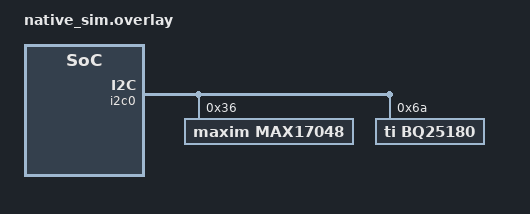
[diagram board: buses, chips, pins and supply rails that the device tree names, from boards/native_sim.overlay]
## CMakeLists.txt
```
cmake_minimum_required(VERSION 3.20.0)

find_package(Zephyr REQUIRED HINTS $ENV{ZEPHYR_BASE})
project(drivers_battery)

target_sources(app PRIVATE src/main.c src/emul_bq25180.c)
```

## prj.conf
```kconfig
CONFIG_ZTEST=y
CONFIG_I2C=y
CONFIG_EMUL=y
CONFIG_FUEL_GAUGE=y
CONFIG_EMUL_MAX17048=y
CONFIG_CHARGER=y
CONFIG_WX_DRV_BATTERY=y
```

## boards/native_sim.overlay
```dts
/* The board's fuel gauge and charger on native_sim's emulated I2C bus. */
&i2c0 {
	max17048: max17048@36 {
		compatible = "maxim,max17048";
		reg = <0x36>;
		status = "okay";
	};

	bq25180: bq25180@6a {
		compatible = "ti,bq25180";
		reg = <0x6a>;
		constant-charge-current-max-microamp = <500000>;
		status = "okay";
	};
};
```

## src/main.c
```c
/*
 * drivers/battery_zephyr.c against Zephyr's MAX17048 emulator and our
 * BQ25180 emulator on native_sim's emulated I2C bus.
 *
 * Zephyr's MAX17048 emulator holds fixed charge and voltage registers and
 * writes its words little-endian, while the chip (and the driver) are
 * big-endian, so the driver reads its SOC 0x3525 as 0x2535 (37 %) and its
 * VCELL 0x4387 as 0x8743 (2,705 mV). The tests pin those, and swap the
 * charge rate they set so the driver reads the value meant.
 */

#include <zephyr/sys/byteorder.h>
#include <zephyr/ztest.h>

#include "emul_bq25180.h"
#include "hal/battery.h"

/* From drivers/fuel_gauge/max17048/emul_max17048.c (no header). */
void emul_max17048_set_crate_status(int value);

#define STAT0     0x00
#define STAT1     0x01
#define SHIP_RST  0x09
#define IC_CTRL   0x07
#define ICHG_CTRL 0x04

/* STAT0 (Table 8-9): CHG_STAT bits 6:5, VIN_PGOOD bit 0. */
#define VIN_GOOD      0x01
#define CHG_NOT       (0x0U << 5)
#define CHG_CC        (0x1U << 5)
#define CHG_CV        (0x2U << 5)
#define CHG_DONE      (0x3U << 5)

/* CRATE: 0.208 %/hour per LSB, signed (negative = discharging). */
static void set_crate(int16_t lsb)
{
	emul_max17048_set_crate_status((int)sys_cpu_to_be16((uint16_t)lsb));
}

static void before(void *f)
{
	ARG_UNUSED(f);
	emul_bq25180_fail(false);
	emul_bq25180_set(STAT0, CHG_NOT);
	emul_bq25180_set(STAT1, 0);
	emul_bq25180_set(SHIP_RST, 0x11);
	set_crate(0);
}

ZTEST_SUITE(battery_zephyr, NULL, NULL, before, NULL, NULL);

ZTEST(battery_zephyr, test_charger_set_up_at_boot)
{
	/* Zephyr's driver: watchdog off, 6-hour safety timer, TS auto (IC_CTRL),
	 * and 500 mA from the devicetree: 40 + (code - 31) * 10 mA (ICHG_CTRL). */
	zassert_equal(emul_bq25180_get(IC_CTRL) & 0x87, 0x87);
	zassert_equal(emul_bq25180_get(ICHG_CTRL) & 0x7F, 31 + (500 - 40) / 10);
}

ZTEST(battery_zephyr, test_discharging_with_the_gauges_rate)
{
	struct hal_battery_status st;

	set_crate(-10); /* -2.08 %/hour */
	zassert_ok(hal_battery_get(&st));
	zassert_equal(st.soc_percent, 37);
	zassert_equal(st.voltage_mv, 2705);
	zassert_equal(st.charge, HAL_BATTERY_DISCHARGING, "no input power");
	zassert_false(st.temp_fault);
	/* 37 % at 2.08 %/hour: 17.8 hours, which the driver gives as 1,067 minutes. */
	zassert_equal(st.hours_left, 17);
}

ZTEST(battery_zephyr, test_no_rate_yet_is_unknown)
{
	struct hal_battery_status st;

	zassert_ok(hal_battery_get(&st));
	zassert_equal(st.hours_left, HAL_BATTERY_HOURS_UNKNOWN, "a zero rate: not known yet");
}

ZTEST(battery_zephyr, test_charging_and_charged)
{
	struct hal_battery_status st;

	set_crate(100); /* charging */
	emul_bq25180_set(STAT0, VIN_GOOD | CHG_CC);
	zassert_ok(hal_battery_get(&st));
	zassert_equal(st.charge, HAL_BATTERY_CHARGING, "constant current");
	zassert_equal(st.hours_left, HAL_BATTERY_HOURS_UNKNOWN, "no time to empty while charging");

	emul_bq25180_set(STAT0, VIN_GOOD | CHG_CV);
	zassert_ok(hal_battery_get(&st));
	zassert_equal(st.charge, HAL_BATTERY_CHARGING, "constant voltage");

	emul_bq25180_set(STAT0, VIN_GOOD | CHG_DONE);
	zassert_ok(hal_battery_get(&st));
	zassert_equal(st.charge, HAL_BATTERY_CHARGED);

	emul_bq25180_set(STAT0, VIN_GOOD | CHG_NOT);
	set_crate(-10);
	zassert_ok(hal_battery_get(&st));
	zassert_equal(st.charge, HAL_BATTERY_DISCHARGING, "plugged in, not charging");
}

ZTEST(battery_zephyr, test_temperature_fault_only_when_charging_is_suspended)
{
	struct hal_battery_status st;

	/* STAT1 TS_STAT, bits 4:3 (Table 8-10). */
	emul_bq25180_set(STAT1, 0x1U << 3);
	zassert_ok(hal_battery_get(&st));
	zassert_true(st.temp_fault, "too hot or too cold: charging suspended");

	emul_bq25180_set(STAT1, 0x2U << 3);
	zassert_ok(hal_battery_get(&st));
	zassert_false(st.temp_fault, "cool: current reduced, not a fault");

	emul_bq25180_set(STAT1, 0x3U << 3);
	zassert_ok(hal_battery_get(&st));
	zassert_false(st.temp_fault, "warm: voltage reduced, not a fault");

	emul_bq25180_set(STAT1, 0xE7); /* every other bit set */
	zassert_ok(hal_battery_get(&st));
	zassert_false(st.temp_fault, "only TS_STAT counts");
}

ZTEST(battery_zephyr, test_shutdown_mode_wakes_only_on_usb)
{
	zassert_ok(hal_battery_ship_mode());
	/* SHIP_RST bits 6:5 = 2b01, the rest kept (Table 8-18). */
	zassert_equal(emul_bq25180_get(SHIP_RST), 0x11 | 0x20);

	emul_bq25180_set(SHIP_RST, 0x5F);
	zassert_ok(hal_battery_ship_mode());
	zassert_equal(emul_bq25180_get(SHIP_RST), 0x3F, "bits 6:5 replaced, not ORed");
}

ZTEST(battery_zephyr, test_a_charger_that_stops_answering_is_an_error)
{
	struct hal_battery_status st;

	emul_bq25180_fail(true);
	zassert_equal(hal_battery_get(&st), -EIO);
	zassert_not_equal(hal_battery_ship_mode(), 0);
}
```

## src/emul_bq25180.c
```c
/*
 * BQ25180 emulator: single-byte register reads and writes at 0x6A
 * (SLUSE99C section 8.3.14: 7-bit address 0x6A, register address byte then
 * data). Reset values from Tables 8-9 to 8-21 where defined; STAT0 and
 * STAT1 are what the test sets.
 */

#define DT_DRV_COMPAT ti_bq25180

#include <errno.h>
#include <stdbool.h>
#include <string.h>

#include <zephyr/device.h>
#include <zephyr/drivers/emul.h>
#include <zephyr/drivers/i2c.h>
#include <zephyr/drivers/i2c_emul.h>

#include "emul_bq25180.h"

static uint8_t regs[BQ25180_REGS];
static uint32_t writes;
static bool failing;

void emul_bq25180_reset(void)
{
	memset(regs, 0, sizeof(regs));
	regs[0x03] = 0x46; /* VBAT_CTRL: 4.2 V */
	regs[0x04] = 0x05; /* ICHG_CTRL: 10 mA */
	regs[0x09] = 0x11; /* SHIP_RST, Table 8-18 */
	regs[0x0C] = 0xC0; /* MASK_ID: device ID 0 = BQ25180 */
	writes = 0;
	failing = false;
}

void emul_bq25180_set(uint8_t reg, uint8_t val)
{
	regs[reg] = val;
}

uint8_t emul_bq25180_get(uint8_t reg)
{
	return regs[reg];
}

uint32_t emul_bq25180_writes(void)
{
	return writes;
}

void emul_bq25180_fail(bool fail)
{
	failing = fail;
}

static int transfer(const struct emul *target, struct i2c_msg *msgs, int num_msgs, int addr)
{
	uint8_t reg;

	ARG_UNUSED(target);
	ARG_UNUSED(addr);
	if (failing || num_msgs < 1 || (msgs[0].flags & I2C_MSG_READ) != 0U || msgs[0].len < 1U) {
		return -EIO;
	}
	reg = msgs[0].buf[0];
	if (reg >= BQ25180_REGS) {
		return -EIO;
	}
	if (num_msgs == 1) {
		/* Write: register, then data bytes to consecutive registers. */
		for (uint32_t i = 1; i < msgs[0].len && reg + i - 1U < BQ25180_REGS; i++) {
			regs[reg + i - 1U] = msgs[0].buf[i];
			writes++;
		}
		return 0;
	}
	if (num_msgs == 2 && (msgs[1].flags & I2C_MSG_READ) != 0U) {
		for (uint32_t i = 0; i < msgs[1].len; i++) {
			msgs[1].buf[i] = reg + i < BQ25180_REGS ? regs[reg + i] : 0U;
		}
		return 0;
	}
	return -EIO;
}

static const struct i2c_emul_api api = {.transfer = transfer};

static int emul_init(const struct emul *target, const struct device *parent)
{
	ARG_UNUSED(target);
	ARG_UNUSED(parent);
	emul_bq25180_reset();
	return 0;
}

EMUL_DT_INST_DEFINE(0, emul_init, NULL, NULL, &api, NULL);
```

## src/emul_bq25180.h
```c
/*
 * BQ25180 emulator for tests: the register file of TI SLUSE99C section
 * 8.5.1 (Table 8-7), with reset values from the register descriptions.
 */

#ifndef EMUL_BQ25180_H_
#define EMUL_BQ25180_H_

#include <stdint.h>

#define BQ25180_REGS 13

void emul_bq25180_reset(void);
void emul_bq25180_set(uint8_t reg, uint8_t val);
uint8_t emul_bq25180_get(uint8_t reg);
/** Register writes since reset. */
uint32_t emul_bq25180_writes(void);
/** Make every transfer fail with -EIO (a disconnected chip). */
void emul_bq25180_fail(bool fail);

#endif /* EMUL_BQ25180_H_ */
```
